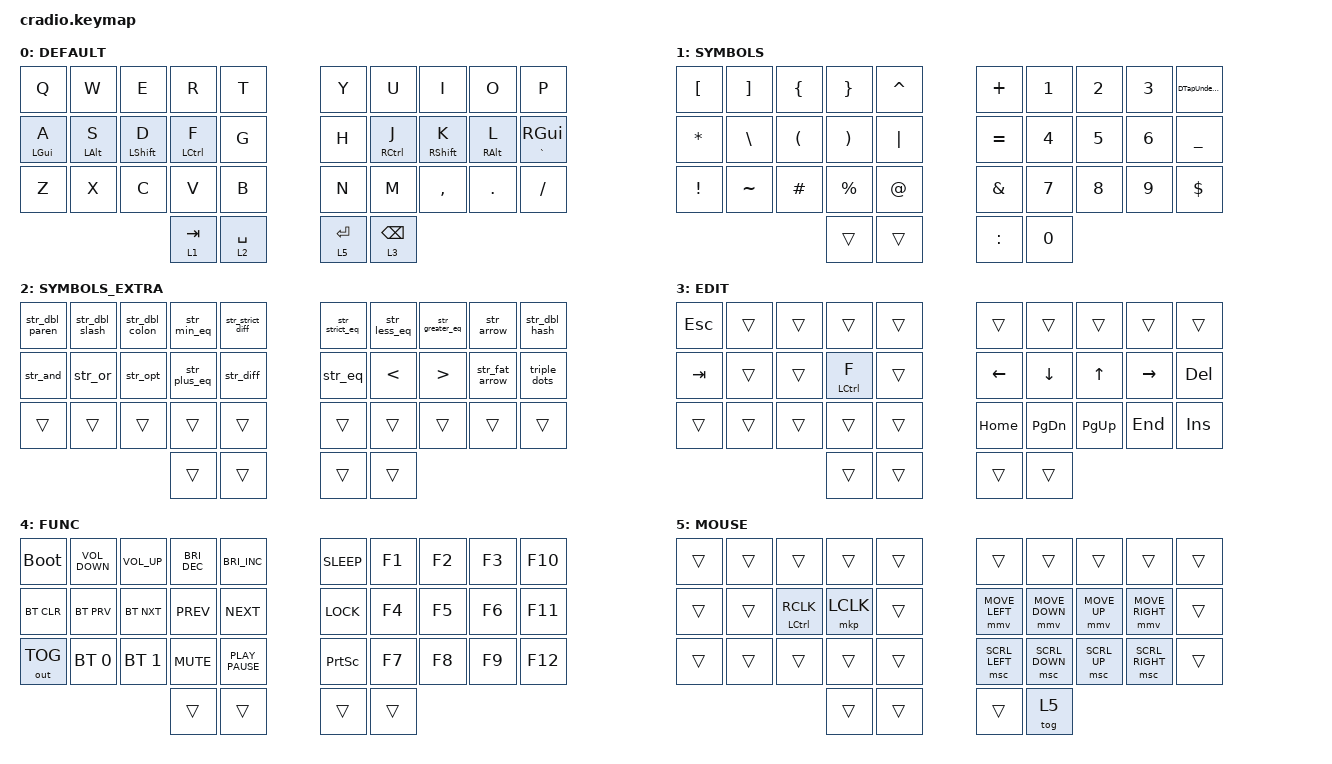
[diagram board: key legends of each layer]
// Copyright (c) 2022 The ZMK Contributors
// SPDX-License-Identifier: MIT

#define ZMK_POINTING_DEFAULT_MOVE_VAL 2500  // 600
#define ZMK_POINTING_DEFAULT_SCRL_VAL 20    // 10

#include <behaviors.dtsi>
#include <dt-bindings/zmk/bt.h>
#include <dt-bindings/zmk/keys.h>
#include <dt-bindings/zmk/outputs.h>
#include <dt-bindings/zmk/pointing.h>

#define MAC 0
#define WIN 1
#define RIG 2
#define LEF 3
#define TRI 4
#define MOUSE 5

// https: //zmk.dev/docs/development/hardware-integration/soft-off-setup?advanced-methods=wakeup&kscan-type=dkscan

/ {
    keys {
        compatible = "gpio-keys";

        soft_off_gpio_key: soft_off_gpio_key { gpios = <&gpio1 6 (GPIO_ACTIVE_LOW | GPIO_PULL_UP)>; };
    };

    wakeup_scan: wakeup_scan {
        compatible = "zmk,kscan-gpio-direct";
        input-keys = <&soft_off_gpio_key>;
        wakeup-source;
    };

    side_band_behavior_triggers: side_band_behavior_triggers {
        compatible = "zmk,kscan-sideband-behaviors";
        kscan = <&wakeup_scan>;
        auto-enable;
        wakeup-source;
    };

    soft_off_wakers {
        compatible = "zmk,soft-off-wakeup-sources";
        wakeup-sources = <&wakeup_scan>;
    };
};

/ {
    behaviors {
        ht: hold_tap {
            label = "hold_tap";
            compatible = "zmk,behavior-hold-tap";
            #binding-cells = <2>;
            flavor = "balanced";
            tapping-term-ms = <200>;
            quick-tap-ms = <150>;
            global-quick-tap;
            bindings = <&kp>, <&kp>;
        };

        tm: tm {
            compatible = "zmk,behavior-hold-tap";
            label = "momentary_toggle";
            #binding-cells = <2>;
            flavor = "balanced";
            tapping-term-ms = <200>;
            quick-tap-ms = <150>;
            global-quick-tap;
            bindings = <&mo>, <&tog>;
        };

        quote_td: quote_td {
            compatible = "zmk,behavior-tap-dance";
            label = "QUOTE_TD";
            #binding-cells = <0>;
            bindings = <&kp SINGLE_QUOTE>, <&kp DOUBLE_QUOTES>, <&kp GRAVE>;

            tapping-term-ms = <200>;
        };

        mth: mth {
            compatible = "zmk,behavior-hold-tap";
            label = "MTH";
            bindings = <&kp>, <&mkp>;

            #binding-cells = <2>;
            tapping-term-ms = <200>;
        };

        DTapUnderscore: DTapUnderscore {
            compatible = "zmk,behavior-tap-dance";
            label = "DTAPUNDERSCORE";
            #binding-cells = <0>;
            bindings = <&kp MINUS>, <&kp UNDERSCORE>;

            tapping-term-ms = <200>;
        };

        DTapDbQuote: DTapDbQuote {
            compatible = "zmk,behavior-tap-dance";
            label = "DTAPDBQUOTE";
            #binding-cells = <0>;
            bindings = <&kp SINGLE_QUOTE>, <&kp DOUBLE_QUOTES>;

            tapping-term-ms = <200>;
        };

        mmv {
            acceleration-exponent = <1>;      // 1
            time-to-max-speed-ms = <300>;    // 40
            delay-ms = <0>;                   // 0
        };

        msc {
            acceleration-exponent = <0>;      // 0
            time-to-max-speed-ms = <40>;      // 500
            delay-ms = <0>;                   // 10
        };
    };

    conditional_layers {
        compatible = "zmk,conditional-layers";

        tri_layer {
            if-layers = <1 3>;
            then-layer = <4>;
        };
    };

    macros {
        str_and: str_and {
            compatible = "zmk,behavior-macro";
            #binding-cells = <0>;
            bindings = <&kp AMPS &kp AMPS>;
            label = "STR_AND";
        };

        str_or: str_or {
            compatible = "zmk,behavior-macro";
            #binding-cells = <0>;
            bindings = <&kp PIPE &kp PIPE>;
            label = "STR_OR";
        };

        str_dbl_slash: str_double_slash {
            compatible = "zmk,behavior-macro";
            #binding-cells = <0>;
            bindings = <&kp FSLH &kp FSLH>;
            label = "STR_DOUBLE_SLASH";
        };

        str_dbl_colon: str_double_colon {
            compatible = "zmk,behavior-macro";
            #binding-cells = <0>;
            bindings = <&kp COLON &kp COLON>;
            label = "STR_DOUBLE_COLON";
        };

        str_plus_eq: str_plus_eq {
            compatible = "zmk,behavior-macro";
            #binding-cells = <0>;
            bindings = <&kp PLUS &kp EQUAL>;
            label = "STR_PLUS_EQ";
        };

        str_min_eq: str_min_eq {
            compatible = "zmk,behavior-macro";
            #binding-cells = <0>;
            bindings = <&kp MINUS &kp EQUAL>;
            label = "STR_MIN_EQ";
        };

        str_diff: str_diff {
            compatible = "zmk,behavior-macro";
            #binding-cells = <0>;
            bindings = <&kp EXCL &kp EQUAL>;
            label = "STR_DIFF";
        };

        str_strict_diff: str_strict_diff {
            compatible = "zmk,behavior-macro";
            #binding-cells = <0>;
            bindings = <&kp EXCL &kp EQUAL &kp EQUAL>;
            label = "STR_STRICT_DIFF";
        };

        str_opt: str_option {
            compatible = "zmk,behavior-macro";
            #binding-cells = <0>;
            bindings = <&kp QMARK &kp QMARK>;
            label = "STR_OPTION";
        };

        str_dbl_paren: str_dbl_paren {
            compatible = "zmk,behavior-macro";
            #binding-cells = <0>;
            bindings = <&kp LPAR &kp RPAR>;
            label = "STR_DBL_PAREN";
        };

        str_eq: str_eq {
            compatible = "zmk,behavior-macro";
            #binding-cells = <0>;
            bindings = <&kp EQUAL &kp EQUAL>;
            label = "STR_EQ";
        };

        str_strict_eq: str_strict_eq {
            compatible = "zmk,behavior-macro";
            #binding-cells = <0>;
            bindings = <&kp EQUAL &kp EQUAL &kp EQUAL>;
            label = "STR_STRICT_EQ";
        };

        str_less_eq: str_less_eq {
            compatible = "zmk,behavior-macro";
            #binding-cells = <0>;
            bindings = <&kp LT &kp EQUAL>;
            label = "STR_LESS_EQ";
        };

        str_greater_eq: str_greater_eq {
            compatible = "zmk,behavior-macro";
            #binding-cells = <0>;
            bindings = <&kp GT &kp EQUAL>;
            label = "STR_GREATER_EQ";
        };

        str_arrow: str_arrow {
            compatible = "zmk,behavior-macro";
            #binding-cells = <0>;
            bindings = <&kp MINUS &kp GT>;
            label = "STR_ARROW";
        };

        str_fat_arrow: str_fat_arrow {
            compatible = "zmk,behavior-macro";
            #binding-cells = <0>;
            bindings = <&kp EQUAL &kp GT>;
            label = "STR_FAT_ARROW";
        };

        triple_dots: triple_dots {
            compatible = "zmk,behavior-macro";
            #binding-cells = <0>;
            bindings = <&kp DOT &kp DOT &kp DOT>;
            label = "TRIPLE_DOTS";
        };

        str_dbl_hash: str_dbl_hash {
            compatible = "zmk,behavior-macro";
            #binding-cells = <0>;
            bindings = <&kp POUND &kp POUND>;
            label = "STR_DBL_HASH";
        };
    };

    combos {
        compatible = "zmk,combos";

        semicolon {
            bindings = <&kp SEMICOLON>;
            key-positions = <28 27>;
            layers = <0>;
        };

        double_quote {
            bindings = <&kp DOUBLE_QUOTES>;
            key-positions = <26 27>;
            layers = <0>;
        };

        grave {
            bindings = <&kp GRAVE>;
            key-positions = <28 29>;
            layers = <0>;
        };

        single_quote {
            bindings = <&kp SINGLE_QUOTE>;
            key-positions = <18 19>;
            layers = <0>;
        };

        caps_word {
            bindings = <&caps_word>;
            key-positions = <32 31>;
            layers = <0>;
        };

        fast_bpsc {
            bindings = <&kp BSPC>;
            key-positions = <8 9>;
            layers = <0>;
        };
    };

    keymap {
        compatible = "zmk,keymap";

        default_layer {
            display-name = "DEFAULT";
            bindings = <
&kp Q       &kp W           &kp E        &kp R        &kp T        &kp Y        &kp U            &kp I              &kp O       &kp P
&ht LGUI A  &ht LEFT_ALT S  &ht LSHFT D  &ht LCTRL F  &kp G        &kp H        &ht RCTRL J      &ht RIGHT_SHIFT K  &ht RALT L  &ht GRAVE RIGHT_GUI
&kp Z       &kp X           &kp C        &kp V        &kp B        &kp N        &kp M            &kp COMMA          &kp DOT     &kp SLASH
                                         &lt 1 TAB    &lt 2 SPACE  &lt 5 ENTER  &lt 3 BACKSPACE
            >;
        };

        symbols_layer {
            display-name = "SYMBOLS";
            bindings = <
&kp LBKT         &kp RBKT       &kp LEFT_BRACE        &kp RIGHT_BRACE        &kp CARET  &kp PLUS   &kp N1  &kp N2  &kp N3  &DTapUnderscore
&kp STAR         &kp BACKSLASH  &kp LEFT_PARENTHESIS  &kp RIGHT_PARENTHESIS  &kp PIPE   &kp EQUAL  &kp N4  &kp N5  &kp N6  &kp UNDERSCORE
&kp EXCLAMATION  &kp TILDE      &kp HASH              &kp PERCENT            &kp AT     &kp AMPS   &kp N7  &kp N8  &kp N9  &kp DOLLAR
                                                      &trans                 &trans     &kp COLON  &kp N0
            >;
        };

        symbols_extra_layer {
            display-name = "SYMBOLS_EXTRA";
            bindings = <
&str_dbl_paren  &str_dbl_slash  &str_dbl_colon  &str_min_eq   &str_strict_diff  &str_strict_eq  &str_less_eq   &str_greater_eq   &str_arrow      &str_dbl_hash
&str_and        &str_or         &str_opt        &str_plus_eq  &str_diff         &str_eq         &kp LESS_THAN  &kp GREATER_THAN  &str_fat_arrow  &triple_dots
&trans          &trans          &trans          &trans        &trans            &trans          &trans         &trans            &trans          &trans
                                                &trans        &trans            &trans          &trans
            >;
        };

        edit_layer {
            display-name = "EDIT";
            bindings = <
&kp ESC  &trans  &trans  &trans       &trans  &trans    &trans     &trans     &trans     &trans
&kp TAB  &trans  &trans  &ht LCTRL F  &trans  &kp LEFT  &kp DOWN   &kp UP     &kp RIGHT  &kp DELETE
&trans   &trans  &trans  &trans       &trans  &kp HOME  &kp PG_DN  &kp PG_UP  &kp END    &kp INS
                         &trans       &trans  &trans    &trans
            >;
        };

        func_layer {
            display-name = "FUNC";
            bindings = <
&bootloader   &kp C_VOLUME_DOWN  &kp C_VOL_UP  &kp C_BRIGHTNESS_DEC  &kp C_BRI_INC     &kp K_SLEEP      &kp F1  &kp F2  &kp F3  &kp F10
&bt BT_CLR    &bt BT_PRV         &bt BT_NXT    &kp K_PREV            &kp K_NEXT        &kp K_LOCK       &kp F4  &kp F5  &kp F6  &kp F11
&out OUT_TOG  &bt BT_SEL 0       &bt BT_SEL 1  &kp K_MUTE            &kp K_PLAY_PAUSE  &kp PRINTSCREEN  &kp F7  &kp F8  &kp F9  &kp F12
                                               &trans                &trans            &trans           &trans
            >;
        };

        mouse {
            display-name = "MOUSE";
            bindings = <
&trans  &trans  &trans           &trans     &trans  &trans          &trans          &trans        &trans           &trans
&trans  &trans  &mth LCTRL RCLK  &mkp LCLK  &trans  &mmv MOVE_LEFT  &mmv MOVE_DOWN  &mmv MOVE_UP  &mmv MOVE_RIGHT  &trans
&trans  &trans  &trans           &trans     &trans  &msc SCRL_LEFT  &msc SCRL_DOWN  &msc SCRL_UP  &msc SCRL_RIGHT  &trans
                                 &trans     &trans  &trans          &tog 5
            >;
        };
    };
};
